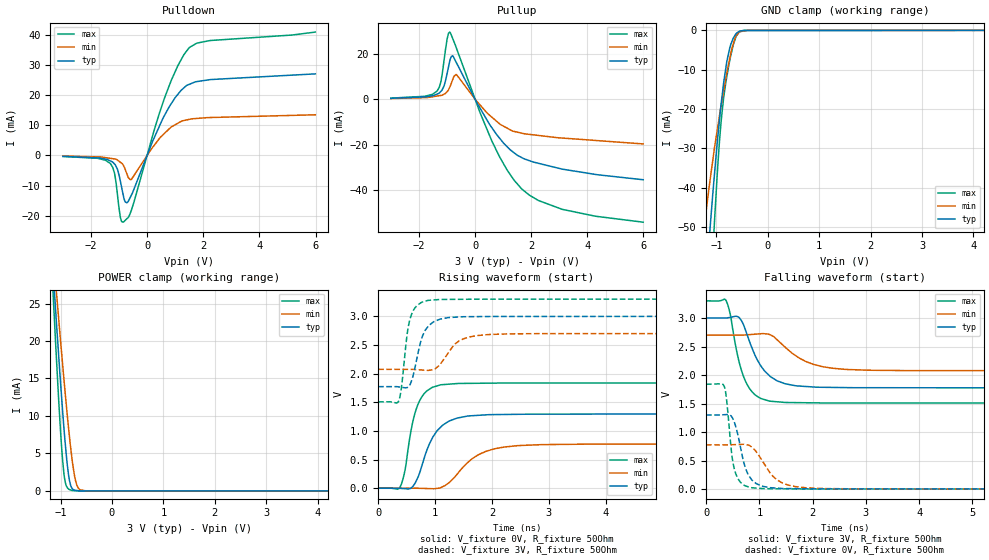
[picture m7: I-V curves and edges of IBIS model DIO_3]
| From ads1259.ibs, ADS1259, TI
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|   Input/Output DIO model 3V
[Model]   DIO_3
Model_type   I/O
|Signals   START, CLKOUT
| variable   typ   min   max
|C_comp Output average
C_comp   4.47E-12   5.55E-12   3.50E-12
|C_comp Output Low
|C_comp   4.85E-12   5.94E-12   3.84E-12
|C_comp Output High
|C_comp   4.97E-12   6.05E-12   4.22E-12
Vinl = 600.000mV
Vinh = 2.400V
Vmeas = 1.500V
Cref = 0.000F
|   typ   min   max
[Voltage Range]   3.000V   2.700V   3.300V
[Temperature Range]   27.0   105.0   -40.0
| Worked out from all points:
|   slope of the pulldown table from 0 to 0.45 V, typ, clamps not added: 45.2 ohm
|   slope of the pullup table from 0 to 0.45 V, typ, clamps not added: 46.2 ohm
|   GND clamp passes 1 mA (typ) near -0.63 V on its own axis
|   POWER clamp passes 1 mA (typ) near -0.81 V on its own axis
|   falling waveform, V_fixture 3V, R_fixture 50Ohm: 20-80 % time 405ps typ, 596ps min, 277ps max; typ from 3 V to 1.77 V
|   rising waveform, V_fixture 0V, R_fixture 50Ohm: 20-80 % time 347ps typ, 533ps min, 223ps max; typ from 0 V to 1.3 V
|   rising waveform, V_fixture 3V, R_fixture 50Ohm: 20-80 % time 199ps typ, 315ps min, 136ps max; typ from 1.77 V to 3 V
|   falling waveform, V_fixture 0V, R_fixture 50Ohm: 20-80 % time 214ps typ, 378ps min, 131ps max; typ from 1.3 V to 0 V
[Pulldown]
|   Voltage   I(typ)   I(min)   I(max)
-3V       -315.2uA   -207.5uA   -347.1uA
-1.311V   -1.826mA   -977.7uA   -2.684mA
-1.163V   -2.85mA    -1.181mA   -5.856mA
-1.057V   -4.599mA   -1.552mA   -12.99mA
-951.4mV  -8.632mA   -2.287mA   -20.63mA
-848.6mV  -13.29mA   -3.295mA   -22.18mA
-723.4mV  -15.73mA   -6.076mA   -21.06mA
-568mV    -13.34mA   -8.014mA   -18.41mA
633.1mV   13.51mA    7.445mA    19.4mA
1.094V    20.27mA    10.68mA    29.77mA
1.498V    23.58mA    11.96mA    35.77mA
5.991V    27.08mA    13.49mA    40.96mA
[GND Clamp]
|   Voltage   I(typ)   I(min)   I(max)
-3V       -427.6mA   -288.6mA   -607.4mA
-1.246V   -71.38mA   -50.8mA    -102.9mA
-1.138V   -52.74mA   -39.53mA   -74mA
-1.104V   -47.17mA   -36.28mA   -65.19mA
-1.041V   -37.19mA   -30.25mA   -49.62mA
-943.5mV  -23.24mA   -22.03mA   -28.84mA
-854.2mV  -12.9mA    -15.13mA   -16.69mA
-796.6mV  -7.895mA   -10.81mA   -11.77mA
-723.4mV  -3.744mA   -6.089mA   -6.602mA
-637.3mV  -1.259mA   -1.96mA    -2.374mA
-552.6mV  -226uA     -370.1uA   -405.3uA
5.991V    0A         0A         0A
[Pullup]
|   Voltage   I(typ)   I(min)   I(max)
-3V       393.2uA    288.1uA    464.4uA
-1.358V   2.226mA    1.378mA    3.515mA
-1.216V   3.441mA    1.65mA     7.737mA
-1.106V   5.767mA    2.201mA    16.89mA
-991.8mV  11.53mA    3.381mA    26.67mA
-900.7mV  16.76mA    5.264mA    29.58mA
-801.2mV  19.12mA    8.484mA    26.9mA
-655.5mV  15.88mA    10.79mA    22.27mA
605.4mV   -12.67mA   -7.996mA   -18.59mA
1.652V    -25.66mA   -14.94mA   -39.4mA
3.104V    -30.82mA   -17.12mA   -48.54mA
5.991V    -35.5mA    -19.72mA   -54.21mA
[POWER Clamp]
|   Voltage   I(typ)   I(min)   I(max)
-3V       240.7mA    196.4mA    303.8mA
-1.147V   29.44mA    32.05mA    26.52mA
-1.094V   23.86mA    27.62mA    19.38mA
-1.074V   21.78mA    26mA       16.85mA
-998.2mV  14.27mA    19.87mA    7.745mA
-959mV    10.55mA    16.81mA    4.01mA
-909.5mV  6.361mA    13.04mA    1.2mA
-835.1mV  1.712mA    7.784mA    203.9uA
-767.7mV  266.1uA    3.746mA    50.93uA
-693.2mV  67.42uA    974.9uA    6.248uA
-504.1mV  4.187uA    4.508uA    5.411uA
5.991V    0A         0A         0A
[Ramp]
R_load = 50
|   typ   min   max
dV/dt_r   0.780099/3.4239e-10   0.464977/5.26081e-10   1.10365/2.21992e-10
dV/dt_f   0.736613/4.01223e-10   0.375126/5.89045e-10   1.07562/2.75961e-10
[Falling Waveform]
V_fixture = 3V
V_fixture_min = 2.7V
V_fixture_max = 3.3V
R_fixture = 50Ohm
C_fixture = 0F
|   Time   V(typ)   V(min)   V(max)
0s        3V         2.7V       3.3V
370ps     3V         2.7V       3.314V
453.9ps   3.012V     2.7V       3.064V
606.6ps   3.018V     2.7V       2.281V
727.1ps   2.821V     2.703V     1.919V
957.4ps   2.274V     2.719V     1.628V
1.183ns   1.994V     2.713V     1.545V
1.865ns   1.8V       2.241V     1.515V
2.607ns   1.781V     2.1V       1.511V
10.22ns   1.772V     2.075V     1.507V
[Rising Waveform]
V_fixture = 0V
V_fixture_min = 0V
V_fixture_max = 0V
R_fixture = 50Ohm
C_fixture = 0F
|   Time   V(typ)   V(min)   V(max)
0s        1.732nV    2.106nV    1.557nV
381.9ps   -1.21mV    64.51uV    15.33mV
452.7ps   -6.745mV   76.47uV    227mV
601.6ps   24.74mV    101.6uV    1.128V
693.4ps   180mV      117.1uV    1.447V
903.4ps   779mV      -6.524mV   1.729V
1.092ns   1.059V     7.446mV    1.802V
1.759ns   1.272V     582.6mV    1.831V
2.442ns   1.289V     742.1mV    1.835V
10.22ns   1.3V       775mV      1.839V
[Rising Waveform]
V_fixture = 3V
V_fixture_min = 2.7V
V_fixture_max = 3.3V
R_fixture = 50Ohm
C_fixture = 0F
|   Time   V(typ)   V(min)   V(max)
0s        1.772V     2.074V     1.507V
357.6ps   1.768V     2.074V     1.516V
404.3ps   1.761V     2.074V     1.726V
506.8ps   1.755V     2.074V     2.668V
563.4ps   1.816V     2.074V     2.964V
762.1ps   2.606V     2.063V     3.243V
873ps     2.816V     2.056V     3.276V
1.422ns   2.988V     2.569V     3.296V
1.943ns   2.996V     2.681V     3.298V
10.22ns   3V         2.7V       3.3V
[Falling Waveform]
|Gnd
V_fixture = 0V
V_fixture_min = 0V
V_fixture_max = 0V
R_fixture = 50Ohm
C_fixture = 0F
|   Time   V(typ)   V(min)   V(max)
0s        1.3V       776.4mV    1.839V
339.2ps   1.305V     776.5mV    1.806V
389.6ps   1.308V     776.5mV    1.527V
481.5ps   1.269V     778.2mV    610.7mV
532.5ps   1.167V     780.3mV    344.6mV
707.5ps   466.9mV    787.2mV    73.13mV
838.3ps   187.7mV    749.6mV    26.87mV
1.324ns   18.67mV    168.8mV    7.214mV
1.856ns   7.388mV    25.81mV    3.825mV
10.22ns   290.8uV    945.2uV    11.39uV
